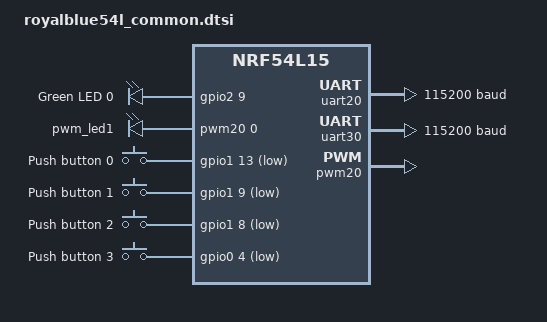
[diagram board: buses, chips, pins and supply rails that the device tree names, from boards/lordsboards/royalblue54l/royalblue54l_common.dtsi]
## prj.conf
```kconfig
CONFIG_USB_DEVICE_STACK=y
CONFIG_USB_DEVICE_BOS=y
CONFIG_SERIAL=y
CONFIG_USB_DEVICE_PRODUCT="Zephyr CMSIS-DAP"
CONFIG_USB_DEVICE_PID=0x0204

CONFIG_UART_INTERRUPT_DRIVEN=y
CONFIG_UART_LINE_CTRL=y

CONFIG_LOG=y

CONFIG_USB_DRIVER_LOG_LEVEL_INF=y
CONFIG_USB_DEVICE_LOG_LEVEL_INF=y
CONFIG_DAP_LOG_LEVEL_INF=y
CONFIG_DP_DRIVER_LOG_LEVEL_INF=y
CONFIG_DAP=y
CONFIG_GPIO=y
CONFIG_NET_BUF=y

CONFIG_RING_BUFFER=y
```

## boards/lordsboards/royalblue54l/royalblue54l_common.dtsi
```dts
/*
 * Copyright (c) 2024 Nordic Semiconductor ASA
 *
 * SPDX-License-Identifier: Apache-2.0
 */

#include "royalblue54l_nrf54l15-pinctrl.dtsi"

/ {
	leds {
		compatible = "gpio-leds";
		led0: led_0 {
			gpios = <&gpio2 9 GPIO_ACTIVE_HIGH>;
			label = "Green LED 0";
		};
	};

	pwmleds {
		compatible = "pwm-leds";
		/*
		 * PWM signal can be exposed on GPIO pin only within same domain.
		 * There is only one domain which contains both PWM and GPIO:
		 * PWM20/21/22 and GPIO Port P1.
		 * Only LEDs connected to P1 can work with PWM, for example LED1.
		 */
		pwm_led1: pwm_led_1 {
			pwms = <&pwm20 0 PWM_MSEC(20) PWM_POLARITY_NORMAL>;
		};
	};

	buttons {
		compatible = "gpio-keys";
		button0: button_0 {
			gpios = <&gpio1 13 (GPIO_PULL_UP | GPIO_ACTIVE_LOW)>;
			label = "Push button 0";
			zephyr,code = <INPUT_KEY_0>;
		};
		button1: button_1 {
			gpios = <&gpio1 9 (GPIO_PULL_UP | GPIO_ACTIVE_LOW)>;
			label = "Push button 1";
			zephyr,code = <INPUT_KEY_1>;
		};
		button2: button_2 {
			gpios = <&gpio1 8 (GPIO_PULL_UP | GPIO_ACTIVE_LOW)>;
			label = "Push button 2";
			zephyr,code = <INPUT_KEY_2>;
		};
		button3: button_3 {
			gpios = <&gpio0 4 (GPIO_PULL_UP | GPIO_ACTIVE_LOW)>;
			label = "Push button 3";
			zephyr,code = <INPUT_KEY_3>;
		};
	};

	aliases {
		led0 = &led0;
		led1 = &led1;
		led2 = &led2;
		led3 = &led3;
		pwm-led0 = &pwm_led1;
		sw0 = &button0;
		sw1 = &button1;
		sw2 = &button2;
		sw3 = &button3;
		watchdog0 = &wdt31;
	};
};

&uart20 {
	current-speed = <115200>;
	pinctrl-0 = <&uart20_default>;
	pinctrl-1 = <&uart20_sleep>;
	pinctrl-names = "default", "sleep";
};

&uart30 {
	current-speed = <115200>;
	pinctrl-0 = <&uart30_default>;
	pinctrl-1 = <&uart30_sleep>;
	pinctrl-names = "default", "sleep";
};

&pwm20 {
	status = "okay";
	pinctrl-0 = <&pwm20_default>;
	pinctrl-1 = <&pwm20_sleep>;
	pinctrl-names = "default", "sleep";
};
```

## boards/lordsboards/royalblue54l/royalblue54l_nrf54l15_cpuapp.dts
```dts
/*
 * Copyright (c) 2024 Nordic Semiconductor ASA
 *
 * SPDX-License-Identifier: Apache-2.0
 */

/dts-v1/;

#include <nordic/nrf54l15_cpuapp.dtsi>
#include "nrf54l15_cpuapp_common.dtsi"

/ {
	compatible = "nordic,nrf54l15dk_nrf54l15-cpuapp";
	model = "Nordic nRF54L15 DK nRF54L15 Application MCU";

	chosen {
		zephyr,code-partition = &slot0_partition;
		zephyr,sram = &cpuapp_sram;
	};
};

&cpuapp_rram {
	partitions {
		compatible = "fixed-partitions";
		#address-cells = <1>;
		#size-cells = <1>;
		boot_partition: partition@0 {
			label = "mcuboot";
			reg = <0x0 DT_SIZE_K(64)>;
		};
		slot0_partition: partition@10000 {
			label = "image-0";
			reg = <0x10000 DT_SIZE_K(324)>;
		};
		slot0_ns_partition: partition@61000 {
			label = "image-0-nonsecure";
			reg = <0x61000 DT_SIZE_K(324)>;
		};
		slot1_partition: partition@b2000 {
			label = "image-1";
			reg = <0xb2000 DT_SIZE_K(324)>;
		};
		slot1_ns_partition: partition@103000 {
			label = "image-1-nonsecure";
			reg = <0x103000 DT_SIZE_K(324)>;
		};
		/* 32k from 0x154000 to 0x15bfff reserved for TF-M partitions */
		storage_partition: partition@15c000 {
			label = "storage";
			reg = <0x15c000 DT_SIZE_K(36)>;
		};
	};
};
```

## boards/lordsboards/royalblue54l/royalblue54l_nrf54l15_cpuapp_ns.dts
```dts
/*
 * Copyright (c) 2024 Nordic Semiconductor ASA
 *
 * SPDX-License-Identifier: Apache-2.0
 */

/dts-v1/;

#define USE_NON_SECURE_ADDRESS_MAP 1

#include <nordic/nrf54l15_cpuapp.dtsi>
#include "nrf54l15_cpuapp_common.dtsi"

/ {
	compatible = "nordic,nrf54l15dk_nrf54l15-cpuapp";
	model = "Nordic nRF54L15 DK nRF54L15 Application MCU";

	chosen {
		zephyr,code-partition = &slot0_partition;
		zephyr,sram = &cpuapp_sram;
	};
};

&cpuapp_rram {
	partitions {
		compatible = "fixed-partitions";
		#address-cells = <1>;
		#size-cells = <1>;
		boot_partition: partition@0 {
			label = "mcuboot";
			reg = <0x0 DT_SIZE_K(64)>;
		};
		slot0_partition: partition@10000 {
			label = "image-0";
			reg = <0x10000 DT_SIZE_K(324)>;
		};
		slot0_ns_partition: partition@61000 {
			label = "image-0-nonsecure";
			reg = <0x61000 DT_SIZE_K(324)>;
		};
		slot1_partition: partition@b2000 {
			label = "image-1";
			reg = <0xb2000 DT_SIZE_K(324)>;
		};
		slot1_ns_partition: partition@103000 {
			label = "image-1-nonsecure";
			reg = <0x103000 DT_SIZE_K(324)>;
		};
		/* 32k from 0x154000 to 0x15bfff reserved for TF-M partitions */
		storage_partition: partition@15c000 {
			label = "storage";
			reg = <0x15c000 DT_SIZE_K(36)>;
		};
	};
};

&uart30 {
	/* Disable so that TF-M can use this UART */
	status = "disabled";

	current-speed = <115200>;
	pinctrl-0 = <&uart30_default>;
	pinctrl-1 = <&uart30_sleep>;
	pinctrl-names = "default", "sleep";
};
```

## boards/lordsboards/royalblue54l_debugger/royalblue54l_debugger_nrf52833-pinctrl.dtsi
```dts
/*
 * Copyright (c) 2024 Lord's Boards LLC
 * SPDX-License-Identifier: Apache-2.0
 */

&pinctrl {
	uart0_default: uart0_default {
		group1 {
			psels = <NRF_PSEL(UART_TX, 0, 30)>;
		};
		group2 {
			psels = <NRF_PSEL(UART_RX, 0, 31)>;
			bias-pull-up;
		};
	};

	uart0_sleep: uart0_sleep {
		group1 {
			psels = <NRF_PSEL(UART_TX, 0, 30)>,
				<NRF_PSEL(UART_RX, 0, 31)>;
			low-power-enable;
		};
	};
};
```

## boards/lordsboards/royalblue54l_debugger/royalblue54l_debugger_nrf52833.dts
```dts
/*
 * Copyright (c) 2024 Lord's Boards LLC
 *
 * SPDX-License-Identifier: Apache-2.0
 */

/dts-v1/;
#include <nordic/nrf52833_qiaa.dtsi>
#include "royalblue54l_debugger_nrf52833-pinctrl.dtsi"

/ {
	model = "Lord's Boards RoyalBlue54L Debugger nRF52833";
	compatible = "lordsboards,royalblue54l-debugger-nrf52833";

	dp0 {
		compatible = "zephyr,swdp-gpio";
		status = "okay";
		clk-gpios = <&gpio0 2 GPIO_ACTIVE_HIGH>;
		dio-gpios = <&gpio0 28 GPIO_PULL_UP>;
		reset-gpios = <&gpio0 29 GPIO_ACTIVE_HIGH>;
		port-write-cycles = <2>;
	};

	uart-bridge {
			 compatible = "zephyr,uart-bridge";
			 peers = <&cdc_acm_uart &uart_passthrough>;
	};

	chosen {
		zephyr,sram = &sram0;
		zephyr,flash = &flash0;
		zephyr,code-partition = &slot0_partition;
		zephyr,console = &cdc_acm_uart;
		zephyr,shell-uart = &cdc_acm_uart;
	};

	aliases {
		watchdog0 = &wdt0;
	};
};

&reg1 {
	regulator-initial-mode = <NRF5X_REG_MODE_LDO>;
};

&uicr {
	gpio-as-nreset;
};

&gpiote {
	status = "okay";
};

&gpio0 {
	status = "okay";
};

&gpio1 {
	status = "okay";
};

uart_passthrough: &uart0 {
	compatible = "nordic,nrf-uarte";
	status = "okay";
	current-speed = <115200>;
	pinctrl-0 = <&uart0_default>;
	pinctrl-1 = <&uart0_sleep>;
	pinctrl-names = "default", "sleep";
};

&ieee802154 {
	status = "okay";
};

&flash0 {

	partitions {
		compatible = "fixed-partitions";
		#address-cells = <1>;
		#size-cells = <1>;

		boot_partition: partition@0 {
			label = "mcuboot";
			reg = <0x00000000 0xC000>;
		};
		slot0_partition: partition@c000 {
			label = "image-0";
			reg = <0x0000C000 0x37000>;
		};
		slot1_partition: partition@43000 {
			label = "image-1";
			reg = <0x00043000 0x37000>;
		};
		storage_partition: partition@7a000 {
			label = "storage";
			reg = <0x0007A000 0x00006000>;
		};
	};
};

zephyr_udc0: &usbd {
	compatible = "nordic,nrf-usbd";
	status = "okay";

	cdc_acm_uart: cdc_acm_uart {
		compatible = "zephyr,cdc-acm-uart";
	};
};
```

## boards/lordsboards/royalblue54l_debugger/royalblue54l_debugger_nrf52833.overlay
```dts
&reg1 {
	regulator-initial-mode = <NRF5X_REG_MODE_LDO>;
};

/ {
	dp0 {
		compatible = "zephyr,swdp-gpio";
		status = "okay";
		clk-gpios = <&gpio0 2 GPIO_ACTIVE_HIGH>;
		dio-gpios = <&gpio0 28 GPIO_PULL_UP>;
		reset-gpios = <&gpio0 29 GPIO_ACTIVE_HIGH>;
		port-write-cycles = <2>;
	};
};
```

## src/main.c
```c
/*
 * Copyright (c) 2023 Nordic Semiconductor ASA
 *
 * SPDX-License-Identifier: Apache-2.0
 */

#include <zephyr/kernel.h>
#include <zephyr/device.h>
#include <zephyr/sys/byteorder.h>
#include <zephyr/usb/usb_device.h>
#include <zephyr/usb/bos.h>
#include <zephyr/usb/msos_desc.h>
#include <zephyr/net_buf.h>

#include <usb_descriptor.h>
#include <cmsis_dap.h>

#include <zephyr/logging/log.h>
LOG_MODULE_REGISTER(dap_sample, LOG_LEVEL_INF);

NET_BUF_POOL_FIXED_DEFINE(dapusb_rx_pool, CONFIG_CMSIS_DAP_PACKET_COUNT,
			  64, 0, NULL);

static uint8_t rx_buf[64];
static uint8_t tx_buf[64];

static K_FIFO_DEFINE(dap_rx_queue);

#define DAP_IFACE_STR_DESC		"CMSIS-DAP v2"

struct dap_iface_descriptor {
	uint8_t bLength;
	uint8_t bDescriptorType;
	uint8_t bString[USB_BSTRING_LENGTH(DAP_IFACE_STR_DESC)];
} __packed;

USBD_STRING_DESCR_USER_DEFINE(primary) struct dap_iface_descriptor dap_iface_desc = {
	.bLength = USB_STRING_DESCRIPTOR_LENGTH(DAP_IFACE_STR_DESC),
	.bDescriptorType = USB_DESC_STRING,
	.bString = DAP_IFACE_STR_DESC
};

#define DAP_USB_EP_IN		0x81
#define DAP_USB_EP_OUT		0x01
#define DAP_USB_EP_IN_IDX	0
#define DAP_USB_EP_OUT_IDX	1

#define WEBUSB_VENDOR_CODE	0x21
#define WINUSB_VENDOR_CODE	0x20

/* {CDB3B5AD-293B-4663-AA36-1AAE46463776} */
#define CMSIS_DAP_V2_DEVICE_INTERFACE_GUID \
	'{', 0x00, 'C', 0x00, 'D', 0x00, 'B', 0x00, '3', 0x00, 'B', 0x00, \
	'5', 0x00, 'A', 0x00, 'D', 0x00, '-', 0x00, '2', 0x00, '9', 0x00, \
	'3', 0x00, 'B', 0x00, '-', 0x00, '4', 0x00, '6', 0x00, '6', 0x00, \
	'3', 0x00, '-', 0x00, 'A', 0x00, 'A', 0x00, '3', 0x00, '6', 0x00, \
	'-', 0x00, '1', 0x00, 'A', 0x00, 'A', 0x00, 'E', 0x00, '4', 0x00, \
	'6', 0x00, '4', 0x00, '6', 0x00, '3', 0x00, '7', 0x00, '7', 0x00, \
	'6', 0x00, '}', 0x00, 0x00, 0x00, 0x00, 0x00

#define COMPATIBLE_ID_WINUSB \
	'W', 'I', 'N', 'U', 'S', 'B', 0x00, 0x00

static struct msosv2_descriptor {
	struct msosv2_descriptor_set_header header;
#if defined(CONFIG_USB_COMPOSITE_DEVICE)
	struct msosv2_function_subset_header subset_header;
#endif
	struct msosv2_compatible_id compatible_id;
	struct msosv2_guids_property guids_property;
} __packed msosv2_cmsis_dap_desc = {
	/*
	 * Microsoft OS 2.0 descriptor set. This tells Windows what kind
	 * of device this is and to install the WinUSB driver.
	 */
	.header = {
		.wLength = sizeof(struct msosv2_descriptor_set_header),
		.wDescriptorType = MS_OS_20_SET_HEADER_DESCRIPTOR,
		.dwWindowsVersion = 0x06030000,
		.wTotalLength = sizeof(struct msosv2_descriptor),
	},
#if defined(CONFIG_USB_COMPOSITE_DEVICE)
	.subset_header = {
		.wLength = sizeof(struct msosv2_function_subset_header),
		.wDescriptorType = MS_OS_20_SUBSET_HEADER_FUNCTION,
		.wSubsetLength = sizeof(struct msosv2_function_subset_header)
			+ sizeof(struct msosv2_compatible_id)
			+ sizeof(struct msosv2_guids_property),
	},
#endif
	.compatible_id = {
		.wLength = sizeof(struct msosv2_compatible_id),
		.wDescriptorType = MS_OS_20_FEATURE_COMPATIBLE_ID,
		.CompatibleID = {COMPATIBLE_ID_WINUSB},
	},
	.guids_property = {
		.wLength = sizeof(struct msosv2_guids_property),
		.wDescriptorType = MS_OS_20_FEATURE_REG_PROPERTY,
		.wPropertyDataType = MS_OS_20_PROPERTY_DATA_REG_MULTI_SZ,
		.wPropertyNameLength = 42,
		.PropertyName = {DEVICE_INTERFACE_GUIDS_PROPERTY_NAME},
		.wPropertyDataLength = 80,
		.bPropertyData = {CMSIS_DAP_V2_DEVICE_INTERFACE_GUID},
	},
};

USB_DEVICE_BOS_DESC_DEFINE_CAP struct usb_bos_msosv2_desc {
	struct usb_bos_platform_descriptor platform;
	struct usb_bos_capability_msos cap;
} __packed bos_cap_msosv2 = {
	/* Microsoft OS 2.0 Platform Capability Descriptor */
	.platform = {
		.bLength = sizeof(struct usb_bos_platform_descriptor)
			+ sizeof(struct usb_bos_capability_msos),
		.bDescriptorType = USB_DESC_DEVICE_CAPABILITY,
		.bDevCapabilityType = USB_BOS_CAPABILITY_PLATFORM,
		.bReserved = 0,
		.PlatformCapabilityUUID = {
			/**
			 * MS OS 2.0 Platform Capability ID
			 * D8DD60DF-4589-4CC7-9CD2-659D9E648A9F
			 */
			0xDF, 0x60, 0xDD, 0xD8,
			0x89, 0x45,
			0xC7, 0x4C,
			0x9C, 0xD2,
			0x65, 0x9D, 0x9E, 0x64, 0x8A, 0x9F,
		},
	},
	.cap = {
		/* Windows version (8.1) (0x06030000) */
		.dwWindowsVersion = sys_cpu_to_le32(0x06030000),
		.wMSOSDescriptorSetTotalLength =
			sys_cpu_to_le16(sizeof(msosv2_cmsis_dap_desc)),
		.bMS_VendorCode = WINUSB_VENDOR_CODE,
		.bAltEnumCode = 0x00
	},
};

USB_DEVICE_BOS_DESC_DEFINE_CAP struct usb_bos_webusb_desc {
	struct usb_bos_platform_descriptor platform;
	struct usb_bos_capability_webusb cap;
} __packed bos_cap_webusb = {
	/* WebUSB Platform Capability Descriptor:
	 * https://wicg.github.io/webusb/#webusb-platform-capability-descriptor
	 */
	.platform = {
		.bLength = sizeof(struct usb_bos_platform_descriptor)
			 + sizeof(struct usb_bos_capability_webusb),
		.bDescriptorType = USB_DESC_DEVICE_CAPABILITY,
		.bDevCapabilityType = USB_BOS_CAPABILITY_PLATFORM,
		.bReserved = 0,
		/* WebUSB Platform Capability UUID
		 * 3408b638-09a9-47a0-8bfd-a0768815b665
		 */
		.PlatformCapabilityUUID = {
			0x38, 0xB6, 0x08, 0x34,
			0xA9, 0x09,
			0xA0, 0x47,
			0x8B, 0xFD,
			0xA0, 0x76, 0x88, 0x15, 0xB6, 0x65,
		},
	},
	.cap = {
		.bcdVersion = sys_cpu_to_le16(0x0100),
		.bVendorCode = WEBUSB_VENDOR_CODE,
		.iLandingPage = 0x01
	}
};

/* URL Descriptor: https://wicg.github.io/webusb/#url-descriptor */
static const uint8_t webusb_origin_url[] = {
	/* Length, DescriptorType, Scheme */
	24, 0x03, 0x01,
	'w', 'w', 'w', '.',
	'z', 'e', 'p', 'h', 'y', 'r', 'p', 'r', 'o', 'j', 'e', 'c', 't', '.',
	'o', 'r', 'g', '/',
};

static int msosv2_vendor_handle_req(struct usb_setup_packet *setup,
				    int32_t *len, uint8_t **data)
{
	if (usb_reqtype_is_to_device(setup)) {
		return -ENOTSUP;
	}

	if (setup->bRequest == WEBUSB_VENDOR_CODE && setup->wIndex == 0x02) {
		*data = (uint8_t *)(&webusb_origin_url);
		*len = sizeof(webusb_origin_url);

		LOG_DBG("Get URL request");

		return 0;
	}

	if (setup->bRequest == WINUSB_VENDOR_CODE &&
	    setup->wIndex == MS_OS_20_DESCRIPTOR_INDEX) {
		*data = (uint8_t *)(&msosv2_cmsis_dap_desc);
		*len = sizeof(msosv2_cmsis_dap_desc);

		LOG_DBG("Get MS OS Descriptors v2");

		return 0;
	}

	return -ENOTSUP;
}

USBD_CLASS_DESCR_DEFINE(primary, 0) struct {
	struct usb_if_descriptor if0;
	struct usb_ep_descriptor if0_out_ep;
	struct usb_ep_descriptor if0_in_ep;
} __packed dapusb_desc = {
	.if0 = {
		.bLength = sizeof(struct usb_if_descriptor),
		.bDescriptorType = USB_DESC_INTERFACE,
		.bInterfaceNumber = 0,
		.bAlternateSetting = 0,
		.bNumEndpoints = 2,
		.bInterfaceClass = USB_BCC_VENDOR,
		.bInterfaceSubClass = 0,
		.bInterfaceProtocol = 0,
		.iInterface = 0,
	},
	.if0_out_ep = {
		.bLength = sizeof(struct usb_ep_descriptor),
		.bDescriptorType = USB_DESC_ENDPOINT,
		.bEndpointAddress = DAP_USB_EP_OUT,
		.bmAttributes = USB_DC_EP_BULK,
		.wMaxPacketSize = sys_cpu_to_le16(64),
		.bInterval = 0,
	},
	.if0_in_ep = {
		.bLength = sizeof(struct usb_ep_descriptor),
		.bDescriptorType = USB_DESC_ENDPOINT,
		.bEndpointAddress = DAP_USB_EP_IN,
		.bmAttributes = USB_DC_EP_BULK,
		.wMaxPacketSize = sys_cpu_to_le16(64),
		.bInterval = 0,
	},
};

static struct usb_ep_cfg_data dapusb_ep_data[] = {
	{
		.ep_cb	= usb_transfer_ep_callback,
		.ep_addr = DAP_USB_EP_OUT
	},
	{
		.ep_cb = usb_transfer_ep_callback,
		.ep_addr = DAP_USB_EP_IN
	}
};

static void iface_string_desc_init(struct usb_cfg_data *bulk_cfg)
{
	struct usb_if_descriptor *bulk_if = bulk_cfg->interface_descriptor;

	bulk_if->iInterface = usb_get_str_descriptor_idx(&dap_iface_desc);
}

static void dapusb_read_cb(uint8_t ep, int size, void *priv)
{
	struct usb_cfg_data *cfg = priv;
	struct net_buf *buf;

	LOG_DBG("cfg %p ep %x size %u", cfg, ep, size);

	if (size <= 0) {
		goto read_cb_done;
	}

	buf = net_buf_alloc(&dapusb_rx_pool, K_FOREVER);
	net_buf_add_mem(buf, rx_buf, MIN(size, 64));
	k_fifo_put(&dap_rx_queue, buf);

read_cb_done:
	usb_transfer(ep, rx_buf, sizeof(rx_buf), USB_TRANS_READ, dapusb_read_cb, cfg);
}

static void dapusb_dev_status_cb(struct usb_cfg_data *cfg,
				 enum usb_dc_status_code status,
				 const uint8_t *param)
{
	ARG_UNUSED(param);

	if (status == USB_DC_CONFIGURED) {
		dapusb_read_cb(cfg->endpoint[DAP_USB_EP_IN_IDX].ep_addr, 0, cfg);
	}
}

static void dapusb_interface_config(struct usb_desc_header *head,
				    uint8_t bInterfaceNumber)
{
	ARG_UNUSED(head);

	dapusb_desc.if0.bInterfaceNumber = bInterfaceNumber;
#if defined(CONFIG_USB_COMPOSITE_DEVICE)
	msosv2_cmsis_dap_desc.subset_header.bFirstInterface = bInterfaceNumber;
#endif
}

USBD_DEFINE_CFG_DATA(dapusb_config) = {
	.usb_device_description = NULL,
	.interface_config = dapusb_interface_config,
	.interface_descriptor = &dapusb_desc.if0,
	.cb_usb_status = dapusb_dev_status_cb,
	.interface = {
		.class_handler = NULL,
		.custom_handler = NULL,
		.vendor_handler = msosv2_vendor_handle_req,
	},
	.num_endpoints = ARRAY_SIZE(dapusb_ep_data),
	.endpoint = dapusb_ep_data
};

static int dap_usb_process(void)
{
	uint8_t ep = dapusb_config.endpoint[DAP_USB_EP_OUT_IDX].ep_addr;
	struct net_buf *buf;
	size_t len;
	int err;

	buf = k_fifo_get(&dap_rx_queue, K_FOREVER);

	len = dap_execute_cmd(buf->data, tx_buf);
	LOG_DBG("response length %u, starting with [0x%02X, 0x%02X]",
		len, tx_buf[0], tx_buf[1]);
	net_buf_unref(buf);

	err = usb_transfer_sync(ep, tx_buf, len, USB_TRANS_WRITE | USB_TRANS_NO_ZLP);
	if (err < 0 || err != len) {
		LOG_ERR("usb_transfer_sync failed, %d", err);
		return -EIO;
	}

	return 0;
}

int main(void)
{
	const struct device *const swd_dev = DEVICE_DT_GET_ONE(zephyr_swdp_gpio);
	int ret;

	if (!device_is_ready(swd_dev)) {
		LOG_ERR("SWD device is not ready");
		return -ENODEV;
	}

	ret = dap_setup(swd_dev);
	if (ret) {
		LOG_ERR("Failed to initialize DAP controller, %d", ret);
		return ret;
	}

	/* Add MS OS 2.0 BOS descriptor to BOS structure */
	usb_bos_register_cap((void *)&bos_cap_msosv2);
	/* Point interface index to string descriptor */
	iface_string_desc_init(&dapusb_config);

	ret = usb_enable(NULL);
	if (ret != 0) {
		LOG_ERR("Failed to enable USB");
		return 0;
	}

	while (!dap_usb_process()) {
	}

	return usb_disable();
}
```

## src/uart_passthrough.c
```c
/*
 * Copyright (c) 2024 Argentum Systems Ltd.
 *
 * SPDX-License-Identifier: Apache-2.0
 */

#include <zephyr/kernel.h>
#include <zephyr/device.h>
#include <zephyr/drivers/uart.h>
#include <zephyr/sys/ring_buffer.h>

#include <stdio.h>
#include <string.h>

struct patch_info {
	const uint8_t * const name;

	const struct device *rx_dev;
	struct ring_buf *rx_ring_buf;
	bool rx_error;
	bool rx_overflow;

	const struct device *tx_dev;
};

#define DEV_CONSOLE DEVICE_DT_GET(DT_NODELABEL(cdc_acm_uart))
#define DEV_OTHER   DEVICE_DT_GET(DT_CHOSEN(uart_passthrough))

#define RING_BUF_SIZE 64

RING_BUF_DECLARE(rb_console, RING_BUF_SIZE);
struct patch_info patch_c2o = {
	.name = "c2o",

	.rx_dev = DEV_CONSOLE,
	.rx_ring_buf = &rb_console,
	.rx_error = false,
	.rx_overflow = false,

	.tx_dev = DEV_OTHER,
};

RING_BUF_DECLARE(rb_other, RING_BUF_SIZE);
struct patch_info patch_o2c = {
	.name = "o2c",

	.rx_dev = DEV_OTHER,
	.rx_ring_buf = &rb_other,
	.rx_error = false,
	.rx_overflow = false,

	.tx_dev = DEV_CONSOLE,
};

static void uart_cb(const struct device *dev, void *ctx)
{
	struct patch_info *patch = (struct patch_info *)ctx;
	int ret;
	uint8_t *buf;
	uint32_t len;

	while (uart_irq_update(patch->rx_dev) > 0) {
		ret = uart_irq_rx_ready(patch->rx_dev);
		if (ret < 0) {
			patch->rx_error = true;
		}
		if (ret <= 0) {
			break;
		}

		len = ring_buf_put_claim(patch->rx_ring_buf, &buf, RING_BUF_SIZE);
		if (len == 0) {
			/* no space for Rx, disable the IRQ */
			uart_irq_rx_disable(patch->rx_dev);
			patch->rx_overflow = true;
			break;
		}

		ret = uart_fifo_read(patch->rx_dev, buf, len);
		if (ret < 0) {
			patch->rx_error = true;
		}
		if (ret <= 0) {
			break;
		}
		len = ret;

		ret = ring_buf_put_finish(patch->rx_ring_buf, len);
		if (ret != 0) {
			patch->rx_error = true;
			break;
		}
	}
}

static void passthrough(struct patch_info *patch)
{
	int ret;
	uint8_t *buf;
	uint32_t len;

	if (patch->rx_error) {
		printk("<<%s: Rx Error!>>\n", patch->name);
		patch->rx_error = false;
	}

	if (patch->rx_overflow) {
		printk("<<%s: Rx Overflow!>>\n", patch->name);
		patch->rx_overflow = false;
	}

	len = ring_buf_get_claim(patch->rx_ring_buf, &buf, RING_BUF_SIZE);
	if (len == 0) {
		goto done;
	}

	ret = uart_fifo_fill(patch->tx_dev, buf, len);
	if (ret < 0) {
		goto error;
	}
	len = ret;

	ret = ring_buf_get_finish(patch->rx_ring_buf, len);
	if (ret < 0) {
		goto error;
	}

done:
	uart_irq_rx_enable(patch->rx_dev);
	return;

error:
	printk("<<%s: Tx Error!>>\n", patch->name);
}

int uart_passthrough_entry(void)
{
	printk("Console Device: %p\n", patch_c2o.rx_dev);
	printk("Other Device:   %p\n", patch_o2c.rx_dev);

	uart_irq_callback_user_data_set(patch_c2o.rx_dev, uart_cb, (void *)&patch_c2o);
	uart_irq_callback_user_data_set(patch_o2c.rx_dev, uart_cb, (void *)&patch_o2c);

	for (;;) {
		passthrough(&patch_c2o);
		passthrough(&patch_o2c);
	}

	return 0;
}

#define STACK_SIZE 1024
#define THREAD_PRIORITY 7
#define STARTUP_DELAY_MS 1000

/* Define the thread using K_THREAD_DEFINE */
K_THREAD_DEFINE(uart_thread_id, STACK_SIZE,
                uart_passthrough_entry, &patch_c2o, &patch_o2c, NULL,
                THREAD_PRIORITY, 0, STARTUP_DELAY_MS);
```
